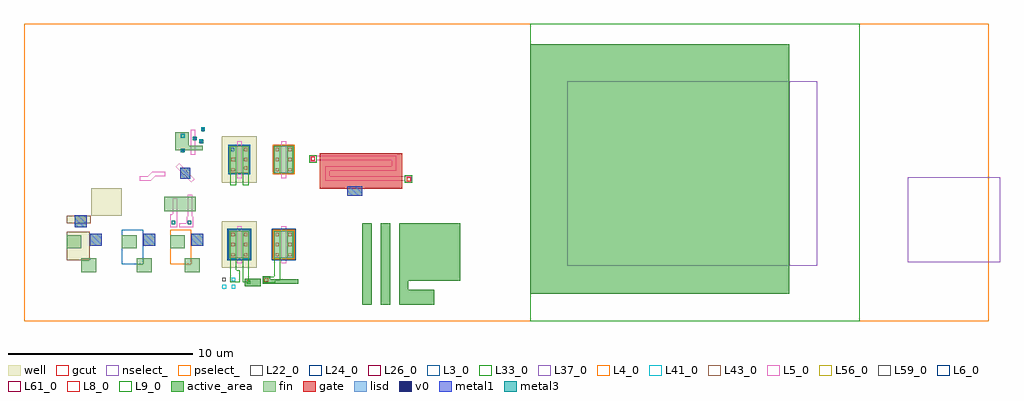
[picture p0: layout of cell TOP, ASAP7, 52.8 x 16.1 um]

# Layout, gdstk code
import gdstk
lib = gdstk.Library(unit=1e-6, precision=1e-09)
def R(c, l, rs):  # rectangles x0, y0, x1, y1
    for r in rs: c.add(gdstk.rectangle(r[:2], r[2:], *l))
def A(c, l, x, y, w, h, nx, ny, dx, dy):  # array of equal rectangles
    R(c, l, [(x+i*dx, y+j*dy, x+i*dx+w, y+j*dy+h) for i in range(nx) for j in range(ny)])
def P(c, l, *ps):  # polygons
    for p in ps: c.add(gdstk.Polygon(p, *l))
well = (1, 0)
fin = (2, 0)
L3_0 = (3, 0)
L4_0 = (4, 0)
L5_0 = (5, 0)
L6_0 = (6, 0)
gate = (7, 0)
L8_0 = (8, 0)
L9_0 = (9, 0)
gcut = (10, 0)
active_area = (11, 0)
nselect_ = (12, 0)
pselect_ = (13, 0)
L15_0 = (15, 0)
lig = (16, 0)
lisd = (17, 0)
v0 = (18, 0)
metal1 = (19, 0)
metal2 = (20, 0)
via1 = (21, 0)
L22_0 = (22, 0)
L23_0 = (23, 0)
L24_0 = (24, 0)
via2 = (25, 0)
L26_0 = (26, 0)
L27_0 = (27, 0)
L28_0 = (28, 0)
L29_0 = (29, 0)
metal3 = (30, 0)
L31_0 = (31, 0)
L32_0 = (32, 0)
L33_0 = (33, 0)
L34_0 = (34, 0)
L36_0 = (36, 0)
L37_0 = (37, 0)
L38_0 = (38, 0)
L39_0 = (39, 0)
metal4 = (40, 0)
L41_0 = (41, 0)
L42_0 = (42, 0)
L43_0 = (43, 0)
L44_0 = (44, 0)
L45_0 = (45, 0)
L46_0 = (46, 0)
L47_0 = (47, 0)
L48_0 = (48, 0)
L49_0 = (49, 0)
L50_0 = (50, 0)
L51_0 = (51, 0)
L52_0 = (52, 0)
L53_0 = (53, 0)
L54_0 = (54, 0)
L55_0 = (55, 0)
L56_0 = (56, 0)
L57_0 = (57, 0)
L58_0 = (58, 0)
L59_0 = (59, 0)
L60_0 = (60, 0)
L61_0 = (61, 0)

top = lib.new_cell('TOP')
R(top, well, [(0.305,-4.6,2.195,-2.1), (-8.1,-4.2,-6.85,-2.65), (-8.1,-2.2,-6.8,-1.8), (-6.75,-1.8,-5.1,-0.3), (0.305,0,2.195,2.5)])
R(top, fin, [(-7.3,-4.85,-6.5,-4.1), (-4.3,-4.85,-3.5,-4.1), (-1.7,-4.85,-0.9,-4.1), (0.705,-4.1,1.795,-2.6), (0.705,-4.1,1.795,-2.6), (3.105,-4.1,4.195,-2.6), (-8.1,-3.55,-7.3,-2.85), (-5.1,-3.55,-4.3,-2.85), (-2.5,-3.55,-1.7,-2.85), (-6.85,-3.4,-6.2,-2.75), (-3.95,-3.4,-3.3,-2.75), (-1.35,-3.4,-0.7,-2.75), (-7.65,-2.4,-7,-1.75), (-2.8,-1.55,-1.1,-0.75), (7.1,-0.7,7.9,-0.2), (-1.95,0.2,-1.4,0.8), (0.705,0.5,1.795,2), (3.105,0.5,4.195,2)])
P(top, fin, [(-2.23,1.75),(-2.23,2.72),(-1.48,2.72),(-1.48,2),(-0.72,2),(-0.72,1.75)])
R(top, L3_0, [(-5.1,-4.4,-3.95,-2.55), (0.65,-4.15,1.85,-2.55), (0.65,-4.15,1.85,-2.55), (0.65,0.45,1.85,2.05)])
R(top, L4_0, [(-2.5,-4.4,-1.35,-2.55), (3.05,-4.15,4.25,-2.55), (3.05,0.45,4.25,2.05)])
R(top, L5_0, [(1.125,-4.35,1.375,-2.35), (1.125,-4.35,1.375,-2.35), (3.525,-4.35,3.775,-2.35), (-2.5,-2.4,-2.1,-1.72), (-2,-2.4,-1.55,-2.2), (-1.59,-2.4,-1.24,-1.85), (-2.35,-1.85,-2.1,-0.85), (-1.55,-1.85,-1.3,-0.65), (10.25,0.03,10.57,0.35), (1.125,0.25,1.375,2.25), (3.525,0.25,3.775,2.25), (5.08,1.13,5.4,1.45), (-1.39,1.5,-1.14,2.86)])
P(top, L5_0, [(-4.15,0.1),(-4.15,0.35),(-3.7,0.35),(-3.45,0.6),(-2.75,0.6),(-2.75,0.35),(-3.3,0.35),(-3.55,0.1)],
  [(-1.339,0.017),(-2.188,0.866),(-2.011,1.043),(-1.162,0.194)])
R(top, L6_0, [(0.6,-4.2,1.9,-2.5), (3,-4.2,4.3,-2.5)])
R(top, gate, [(5.6,-0.34,10.05,1.6)])
A(top, L8_0, 3.215, -3.99, 0.18, 0.18, 1, 3, 0, 0.55)
A(top, L8_0, 3.905, -3.99, 0.18, 0.18, 1, 3, 0, 0.55)
A(top, L8_0, 3.215, 0.61, 0.18, 0.18, 1, 3, 0, 0.55)
A(top, L8_0, 3.905, 0.61, 0.18, 0.18, 1, 3, 0, 0.55)
R(top, L8_0, [(0.815,-3.99,0.995,-3.81), (0.815,-3.99,0.995,-3.81), (1.505,-3.99,1.685,-3.81), (1.505,-3.99,1.685,-3.81), (0.815,-3.44,0.995,-3.26), (0.815,-3.44,0.995,-3.26), (1.505,-3.44,1.685,-3.26), (1.505,-3.44,1.685,-3.26), (0.815,-2.89,0.995,-2.71), (0.815,-2.89,0.995,-2.71), (1.505,-2.89,1.685,-2.71), (1.505,-2.89,1.685,-2.71), (-2.41,-2.26,-2.21,-2.06), (-1.54,-2.26,-1.34,-2.06), (10.31,0.09,10.51,0.29), (0.815,0.61,0.995,0.79), (1.505,0.71,1.685,0.89), (0.815,1.16,1.015,1.34), (1.505,1.16,1.685,1.34), (5.14,1.19,5.34,1.39), (-1.91,1.64,-1.71,1.84), (0.815,1.71,0.975,1.89), (1.505,1.71,1.685,1.89), (-0.91,2.14,-0.71,2.34), (-1.26,2.29,-1.06,2.49), (-1.91,2.44,-1.71,2.64), (-0.81,2.79,-0.61,2.99)])
R(top, L9_0, [(17,-7.5,34.8,8.6), (2.55,-5.41,3.19,-5.1), (0.76,-5.38,1.26,-4.73), (1.44,-5.38,1.75,-2.63), (3.15,-5.29,3.47,-2.63), (0.76,-4.75,1.07,-2.63), (3.83,-4.09,4.15,-2.63), (0.76,-0.14,1.07,1.98), (1.44,-0.14,1.75,1.98), (10.21,-0.01,10.61,0.39), (3.15,0.52,3.47,1.98), (3.83,0.52,4.15,1.98), (5.04,1.09,5.44,1.49)])
R(top, gcut, [(0.33,-5.73,0.55,-5.53), (0.83,-5.73,1.03,-5.53), (1.65,-5.47,1.85,-5.27), (2.61,-5.36,2.81,-5.16), (0.33,-5.34,0.51,-5.14), (0.83,-5.34,1.03,-5.14)])
R(top, active_area, [(7.9,-6.6,8.4,-2.2), (8.9,-6.6,9.4,-2.2), (9.9,-6.6,10.4,-4.9), (10.2,-6.6,11.8,-5.8), (17,-6,31,7.5), (1.55,-5.6,2.4,-5.2), (2.51,-5.46,2.91,-5.06), (2.91,-5.46,4.44,-5.22), (9.9,-5.3,13.2,-2.2)])
R(top, nselect_, [(19,-4.5,32.5,5.5), (37.4,-4.3,42.4,0.3)])
R(top, pselect_, [(-10.4,-7.5,41.8,8.6)])
R(top, lisd, [(0.815,1.71,0.975,1.89)])
R(top, v0, [(-1.91,1.64,-1.71,1.84), (-0.91,2.14,-0.71,2.34), (-1.26,2.29,-1.06,2.49), (-0.81,2.79,-0.61,2.99)])
R(top, metal1, [(-6.85,-3.4,-6.2,-2.75), (-3.95,-3.4,-3.3,-2.75), (-1.35,-3.4,-0.7,-2.75), (-7.65,-2.4,-7,-1.75), (7.1,-0.7,7.9,-0.2), (-1.95,0.2,-1.4,0.8)])
P(top, L22_0, [(-1.7,-4.85),(-1.7,-4.4),(-1.35,-4.4),(-1.35,-4.1),(-0.9,-4.1),(-0.9,-4.85)])
R(top, L24_0, [(-7.65,-2.4,-7,-2.2), (-7.65,-1.8,-7,-1.75)])
P(top, L24_0, [(-7.3,-4.85),(-7.3,-4.2),(-6.85,-4.2),(-6.85,-4.1),(-6.5,-4.1),(-6.5,-4.85)])
P(top, L26_0, [(-4.3,-4.85),(-4.3,-4.4),(-3.95,-4.4),(-3.95,-4.1),(-3.5,-4.1),(-3.5,-4.85)])
R(top, metal3, [(-2.41,-2.26,-2.21,-2.06), (-1.54,-2.26,-1.34,-2.06), (-1.91,1.64,-1.71,1.84), (-0.91,2.14,-0.71,2.34), (-1.26,2.29,-1.06,2.49), (-1.91,2.44,-1.71,2.64), (-0.81,2.79,-0.61,2.99)])
R(top, L33_0, [(0.33,-5.73,0.55,-5.53), (0.83,-5.73,1.03,-5.53), (0.33,-5.34,0.51,-5.14)])
P(top, L33_0, [(1.65,-5.47),(1.65,-5.38),(1.75,-5.38),(1.75,-5.27),(1.85,-5.27),(1.85,-5.47)])
R(top, L37_0, [(31,-4.5,32.5,5.5), (37.4,-4.3,42.4,0.3)])
R(top, L41_0, [(0.33,-5.73,0.55,-5.53), (0.83,-5.73,1.03,-5.53), (0.33,-5.34,0.51,-5.14), (0.83,-5.34,1.03,-5.14)])
R(top, L43_0, [(-8.1,-4.2,-6.85,-2.65), (-8.1,-2.2,-6.8,-1.8)])
R(top, L56_0, [(7.1,-0.34,7.9,-0.2)])
R(top, L59_0, [(0.33,-5.34,0.51,-5.14)])
R(top, L61_0, [(-2.351,-0.851,-2.349,-0.849), (-2.101,-0.851,-2.099,-0.849)])
P(top, L61_0, [(-1.522,0.2),(-1.95,0.628),(-1.95,0.8),(-1.768,0.8),(-1.4,0.432),(-1.4,0.2)])
top.add(gdstk.FlexPath([(5.4,1.325),(9.625,1.325),(9.625,0.775),(6.025,0.775),(6.025,0.225),(10.25,0.225)], 0.25, ends="flush", simple_path=True, layer=5, datatype=0))  # L5_0
top.add(gdstk.FlexPath([(1.505,0.89),(1.685,0.89)], 0, ends="flush", simple_path=True, layer=15, datatype=0))  # L15_0
top.add(gdstk.FlexPath([(1.685,1.16),(1.505,1.16)], 0, ends="flush", simple_path=True, layer=15, datatype=0))  # L15_0
top.add(gdstk.FlexPath([(-1.06,2.49),(-1.06,2.29)], 0, ends="flush", simple_path=True, layer=15, datatype=0))  # L15_0
top.add(gdstk.FlexPath([(-0.91,2.14),(-0.91,2.34)], 0, ends="flush", simple_path=True, layer=15, datatype=0))  # L15_0
top.add(gdstk.FlexPath([(-0.81,2.79),(-0.81,2.85)], 0, ends="flush", simple_path=True, layer=15, datatype=0))  # L15_0
top.add(gdstk.FlexPath([(-1.06,2.49),(-1.06,2.43)], 0, ends="flush", simple_path=True, layer=15, datatype=0))  # L15_0
top.add(gdstk.FlexPath([(-0.7,2.79),(-0.81,2.79)], 0, ends="flush", simple_path=True, layer=15, datatype=0))  # L15_0
top.add(gdstk.FlexPath([(-1.17,2.49),(-1.06,2.49)], 0, ends="flush", simple_path=True, layer=15, datatype=0))  # L15_0
top.add(gdstk.FlexPath([(0.815,1.71),(0.815,1.89)], 0, ends="flush", simple_path=True, layer=16, datatype=0))  # lig
top.add(gdstk.FlexPath([(0.975,1.89),(0.975,1.71)], 0, ends="flush", simple_path=True, layer=16, datatype=0))  # lig
top.add(gdstk.FlexPath([(-2.02,2.72),(-1.6,2.72)], 0, ends="flush", simple_path=True, layer=20, datatype=0))  # metal2
top.add(gdstk.FlexPath([(-1.91,2.64),(-1.71,2.64)], 0, ends="flush", simple_path=True, layer=20, datatype=0))  # metal2
top.add(gdstk.FlexPath([(1.795,-4.1),(0.705,-4.1)], 0, ends="flush", simple_path=True, layer=21, datatype=0))  # via1
top.add(gdstk.FlexPath([(1.375,-4.1),(1.125,-4.1)], 0, ends="flush", simple_path=True, layer=21, datatype=0))  # via1
top.add(gdstk.FlexPath([(-2.77,-0.75),(-1.68,-0.75)], 0, ends="flush", simple_path=True, layer=21, datatype=0))  # via1
top.add(gdstk.FlexPath([(-2.35,-0.85),(-2.1,-0.85)], 0, ends="flush", simple_path=True, layer=21, datatype=0))  # via1
top.add(gdstk.FlexPath([(-1.68,-1.55),(-2.77,-1.55)], 0, ends="flush", simple_path=True, layer=21, datatype=0))  # via1
top.add(gdstk.FlexPath([(-2.1,-1.55),(-2.35,-1.55)], 0, ends="flush", simple_path=True, layer=21, datatype=0))  # via1
top.add(gdstk.FlexPath([(-1.97,-0.75),(-1.1,-0.75)], 0, ends="flush", simple_path=True, layer=21, datatype=0))  # via1
top.add(gdstk.FlexPath([(-1.55,-0.75),(-1.3,-0.75)], 0, ends="flush", simple_path=True, layer=21, datatype=0))  # via1
top.add(gdstk.FlexPath([(-1.1,-0.75),(-1.1,-1.55)], 0, ends="flush", simple_path=True, layer=21, datatype=0))  # via1
top.add(gdstk.FlexPath([(-1.3,-0.75),(-1.3,-1.55)], 0, ends="flush", simple_path=True, layer=21, datatype=0))  # via1
top.add(gdstk.FlexPath([(-1.1,-1.55),(-1.97,-1.55)], 0, ends="flush", simple_path=True, layer=21, datatype=0))  # via1
top.add(gdstk.FlexPath([(-1.3,-1.55),(-1.55,-1.55)], 0, ends="flush", simple_path=True, layer=21, datatype=0))  # via1
top.add(gdstk.FlexPath([(-1.95,0.2),(-1.95,0.628)], 0, ends="flush", simple_path=True, layer=21, datatype=0))  # via1
top.add(gdstk.FlexPath([(-1.53,0.208),(-1.95,0.628)], 0, ends="flush", simple_path=True, layer=21, datatype=0))  # via1
top.add(gdstk.FlexPath([(-1.95,0.208),(-1.95,0.8)], 0, ends="flush", simple_path=True, layer=21, datatype=0))  # via1
top.add(gdstk.FlexPath([(-1.95,0.628),(-1.95,0.8)], 0, ends="flush", simple_path=True, layer=21, datatype=0))  # via1
top.add(gdstk.FlexPath([(-1.4,0.2),(-1.942,0.2)], 0, ends="flush", simple_path=True, layer=21, datatype=0))  # via1
top.add(gdstk.FlexPath([(-1.4,0.2),(-1.522,0.2)], 0, ends="flush", simple_path=True, layer=21, datatype=0))  # via1
top.add(gdstk.FlexPath([(-1.768,0.8),(-1.4,0.8)], 0, ends="flush", simple_path=True, layer=21, datatype=0))  # via1
top.add(gdstk.FlexPath([(-1.768,0.8),(-1.4,0.432)], 0, ends="flush", simple_path=True, layer=21, datatype=0))  # via1
top.add(gdstk.FlexPath([(-1.4,0.8),(-1.4,0.2)], 0, ends="flush", simple_path=True, layer=21, datatype=0))  # via1
top.add(gdstk.FlexPath([(-1.4,0.432),(-1.4,0.2)], 0, ends="flush", simple_path=True, layer=21, datatype=0))  # via1
top.add(gdstk.FlexPath([(-1.522,0.2),(-1.95,0.2)], 0, ends="flush", simple_path=True, layer=21, datatype=0))  # via1
top.add(gdstk.FlexPath([(-1.522,0.2),(-1.942,0.62)], 0, ends="flush", simple_path=True, layer=21, datatype=0))  # via1
top.add(gdstk.FlexPath([(-0.72,1.75),(-1.81,1.75)], 0, ends="flush", simple_path=True, layer=21, datatype=0))  # via1
top.add(gdstk.FlexPath([(-1.14,1.75),(-1.39,1.75)], 0, ends="flush", simple_path=True, layer=21, datatype=0))  # via1
top.add(gdstk.FlexPath([(3.105,-2.6),(4.195,-2.6)], 0, ends="flush", simple_path=True, layer=21, datatype=0))  # via1
top.add(gdstk.FlexPath([(3.525,-2.6),(3.775,-2.6)], 0, ends="flush", simple_path=True, layer=21, datatype=0))  # via1
top.add(gdstk.FlexPath([(4.195,-4.1),(3.105,-4.1)], 0, ends="flush", simple_path=True, layer=21, datatype=0))  # via1
top.add(gdstk.FlexPath([(3.775,-4.1),(3.525,-4.1)], 0, ends="flush", simple_path=True, layer=21, datatype=0))  # via1
top.add(gdstk.FlexPath([(-1.48,2),(-0.72,2)], 0, ends="flush", simple_path=True, layer=21, datatype=0))  # via1
top.add(gdstk.FlexPath([(-1.39,2),(-1.14,2)], 0, ends="flush", simple_path=True, layer=21, datatype=0))  # via1
top.add(gdstk.FlexPath([(4.195,0.5),(3.105,0.5)], 0, ends="flush", simple_path=True, layer=21, datatype=0))  # via1
top.add(gdstk.FlexPath([(3.775,0.5),(3.525,0.5)], 0, ends="flush", simple_path=True, layer=21, datatype=0))  # via1
top.add(gdstk.FlexPath([(0.705,2),(1.795,2)], 0, ends="flush", simple_path=True, layer=21, datatype=0))  # via1
top.add(gdstk.FlexPath([(1.125,2),(1.375,2)], 0, ends="flush", simple_path=True, layer=21, datatype=0))  # via1
top.add(gdstk.FlexPath([(-1.95,0.8),(-1.4,0.8)], 0, ends="flush", simple_path=True, layer=21, datatype=0))  # via1
top.add(gdstk.FlexPath([(-1.95,0.8),(-1.768,0.8)], 0, ends="flush", simple_path=True, layer=21, datatype=0))  # via1
top.add(gdstk.FlexPath([(-1.4,0.8),(-1.4,0.432)], 0, ends="flush", simple_path=True, layer=21, datatype=0))  # via1
top.add(gdstk.FlexPath([(-1.768,0.8),(-1.4,0.432)], 0, ends="flush", simple_path=True, layer=21, datatype=0))  # via1
top.add(gdstk.FlexPath([(3.105,2),(4.195,2)], 0, ends="flush", simple_path=True, layer=21, datatype=0))  # via1
top.add(gdstk.FlexPath([(3.525,2),(3.775,2)], 0, ends="flush", simple_path=True, layer=21, datatype=0))  # via1
top.add(gdstk.FlexPath([(0.705,-2.6),(1.795,-2.6)], 0, ends="flush", simple_path=True, layer=21, datatype=0))  # via1
top.add(gdstk.FlexPath([(1.125,-2.6),(1.375,-2.6)], 0, ends="flush", simple_path=True, layer=21, datatype=0))  # via1
top.add(gdstk.FlexPath([(1.795,0.5),(0.705,0.5)], 0, ends="flush", simple_path=True, layer=21, datatype=0))  # via1
top.add(gdstk.FlexPath([(1.375,0.5),(1.125,0.5)], 0, ends="flush", simple_path=True, layer=21, datatype=0))  # via1
top.add(gdstk.FlexPath([(-6.85,-3.4),(-6.85,-2.75)], 0, ends="flush", simple_path=True, layer=23, datatype=0))  # L23_0
top.add(gdstk.FlexPath([(-6.85,-2.65),(-6.85,-3.7)], 0, ends="flush", simple_path=True, layer=23, datatype=0))  # L23_0
top.add(gdstk.FlexPath([(-7,-1.75),(-7,-2.1)], 0, ends="flush", simple_path=True, layer=23, datatype=0))  # L23_0
top.add(gdstk.FlexPath([(-6.75,-1.8),(-6.75,-1.45)], 0, ends="flush", simple_path=True, layer=23, datatype=0))  # L23_0
top.add(gdstk.FlexPath([(-7,-2.4),(-7.65,-2.4)], 0, ends="flush", simple_path=True, layer=23, datatype=0))  # L23_0
top.add(gdstk.FlexPath([(-7.95,-2.65),(-6.85,-2.65)], 0, ends="flush", simple_path=True, layer=23, datatype=0))  # L23_0
top.add(gdstk.FlexPath([(-1.48,2.72),(-1.48,2)], 0, ends="flush", simple_path=True, layer=25, datatype=0))  # via2
top.add(gdstk.FlexPath([(-1.39,1.9),(-1.39,2.82)], 0, ends="flush", simple_path=True, layer=25, datatype=0))  # via2
top.add(gdstk.FlexPath([(-6.85,-3),(-6.85,-2.75)], 0, ends="flush", simple_path=True, layer=27, datatype=0))  # L27_0
top.add(gdstk.FlexPath([(-7,-2.15),(-7,-2.4)], 0, ends="flush", simple_path=True, layer=27, datatype=0))  # L27_0
top.add(gdstk.FlexPath([(-6.85,-2.75),(-6.4,-2.75)], 0, ends="flush", simple_path=True, layer=27, datatype=0))  # L27_0
top.add(gdstk.FlexPath([(-7,-2.4),(-7.45,-2.4)], 0, ends="flush", simple_path=True, layer=27, datatype=0))  # L27_0
top.add(gdstk.FlexPath([(-1.7,-2.85),(-1.7,-3.55)], 0, ends="flush", simple_path=True, layer=27, datatype=0))  # L27_0
top.add(gdstk.FlexPath([(-1.35,-3.4),(-1.35,-2.75)], 0, ends="flush", simple_path=True, layer=27, datatype=0))  # L27_0
top.add(gdstk.FlexPath([(-4.3,-2.85),(-4.3,-3.55)], 0, ends="flush", simple_path=True, layer=27, datatype=0))  # L27_0
top.add(gdstk.FlexPath([(-3.95,-3.4),(-3.95,-2.75)], 0, ends="flush", simple_path=True, layer=27, datatype=0))  # L27_0
top.add(gdstk.FlexPath([(-7.3,-2.85),(-7.3,-3.55)], 0, ends="flush", simple_path=True, layer=27, datatype=0))  # L27_0
top.add(gdstk.FlexPath([(-6.85,-3.4),(-6.85,-2.75)], 0, ends="flush", simple_path=True, layer=27, datatype=0))  # L27_0
top.add(gdstk.FlexPath([(-8.1,-2.85),(-7.3,-2.85)], 0, ends="flush", simple_path=True, layer=27, datatype=0))  # L27_0
top.add(gdstk.FlexPath([(-7,-2.4),(-7.65,-2.4)], 0, ends="flush", simple_path=True, layer=27, datatype=0))  # L27_0
top.add(gdstk.FlexPath([(-1.7,-4.1),(-1.1,-4.1)], 0, ends="flush", simple_path=True, layer=27, datatype=0))  # L27_0
top.add(gdstk.FlexPath([(-1.7,-3.55),(-2.3,-3.55)], 0, ends="flush", simple_path=True, layer=27, datatype=0))  # L27_0
top.add(gdstk.FlexPath([(-4.3,-4.1),(-3.7,-4.1)], 0, ends="flush", simple_path=True, layer=27, datatype=0))  # L27_0
top.add(gdstk.FlexPath([(-4.3,-3.55),(-4.9,-3.55)], 0, ends="flush", simple_path=True, layer=27, datatype=0))  # L27_0
top.add(gdstk.FlexPath([(-7.3,-4.1),(-6.7,-4.1)], 0, ends="flush", simple_path=True, layer=27, datatype=0))  # L27_0
top.add(gdstk.FlexPath([(-7.3,-3.55),(-7.9,-3.55)], 0, ends="flush", simple_path=True, layer=27, datatype=0))  # L27_0
top.add(gdstk.FlexPath([(-1.48,2),(-0.72,2)], 0, ends="flush", simple_path=True, layer=28, datatype=0))  # L28_0
top.add(gdstk.FlexPath([(-0.72,1.75),(-1.98,1.75)], 0, ends="flush", simple_path=True, layer=28, datatype=0))  # L28_0
top.add(gdstk.FlexPath([(0.76,-3.5),(0.76,-3.2)], 0, ends="flush", simple_path=True, layer=29, datatype=0))  # L29_0
top.add(gdstk.FlexPath([(0.815,-3.44),(0.815,-3.26)], 0, ends="flush", simple_path=True, layer=29, datatype=0))  # L29_0
top.add(gdstk.FlexPath([(0.76,1.65),(0.76,1.95)], 0, ends="flush", simple_path=True, layer=29, datatype=0))  # L29_0
top.add(gdstk.FlexPath([(0.815,1.71),(0.815,1.89)], 0, ends="flush", simple_path=True, layer=29, datatype=0))  # L29_0
top.add(gdstk.FlexPath([(0.76,1.1),(0.76,1.4)], 0, ends="flush", simple_path=True, layer=29, datatype=0))  # L29_0
top.add(gdstk.FlexPath([(0.815,1.16),(0.815,1.34)], 0, ends="flush", simple_path=True, layer=29, datatype=0))  # L29_0
top.add(gdstk.FlexPath([(0.76,-2.95),(0.76,-2.65)], 0, ends="flush", simple_path=True, layer=29, datatype=0))  # L29_0
top.add(gdstk.FlexPath([(0.815,-2.89),(0.815,-2.71)], 0, ends="flush", simple_path=True, layer=29, datatype=0))  # L29_0
top.add(gdstk.FlexPath([(0.76,-4.05),(0.76,-3.75)], 0, ends="flush", simple_path=True, layer=29, datatype=0))  # L29_0
top.add(gdstk.FlexPath([(0.815,-3.99),(0.815,-3.81)], 0, ends="flush", simple_path=True, layer=29, datatype=0))  # L29_0
top.add(gdstk.FlexPath([(0.76,0.55),(0.76,0.85)], 0, ends="flush", simple_path=True, layer=29, datatype=0))  # L29_0
top.add(gdstk.FlexPath([(0.815,0.61),(0.815,0.79)], 0, ends="flush", simple_path=True, layer=29, datatype=0))  # L29_0
top.add(gdstk.FlexPath([(1.07,1.4),(1.07,1.1)], 0, ends="flush", simple_path=True, layer=29, datatype=0))  # L29_0
top.add(gdstk.FlexPath([(1.015,1.34),(1.015,1.16)], 0, ends="flush", simple_path=True, layer=29, datatype=0))  # L29_0
top.add(gdstk.FlexPath([(1.44,-5.38),(1.44,-4.43)], 0, ends="flush", simple_path=True, layer=31, datatype=0))  # L31_0
top.add(gdstk.FlexPath([(1.26,-4.73),(1.26,-5.38)], 0, ends="flush", simple_path=True, layer=31, datatype=0))  # L31_0
top.add(gdstk.FlexPath([(1.08,-5.38),(0.78,-5.38)], 0, ends="flush", simple_path=True, layer=32, datatype=0))  # L32_0
top.add(gdstk.FlexPath([(1.03,-5.34),(0.83,-5.34)], 0, ends="flush", simple_path=True, layer=32, datatype=0))  # L32_0
top.add(gdstk.FlexPath([(2.89,-5.1),(3.15,-5.1)], 0, ends="flush", simple_path=True, layer=34, datatype=0))  # L34_0
top.add(gdstk.FlexPath([(3.45,-5.29),(3.19,-5.29)], 0, ends="flush", simple_path=True, layer=34, datatype=0))  # L34_0
top.add(gdstk.FlexPath([(3.15,-5.1),(3.15,-4.99)], 0, ends="flush", simple_path=True, layer=34, datatype=0))  # L34_0
top.add(gdstk.FlexPath([(3.19,-5.29),(3.19,-5.4)], 0, ends="flush", simple_path=True, layer=34, datatype=0))  # L34_0
top.add(gdstk.FlexPath([(31,-6),(17,-6)], 0, ends="flush", simple_path=True, layer=36, datatype=0))  # L36_0
top.add(gdstk.FlexPath([(32.5,-4.5),(19,-4.5)], 0, ends="flush", simple_path=True, layer=36, datatype=0))  # L36_0
top.add(gdstk.FlexPath([(2.51,-5.46),(2.51,-5.06)], 0, ends="flush", simple_path=True, layer=38, datatype=0))  # L38_0
top.add(gdstk.FlexPath([(2.4,-5.2),(2.4,-5.6)], 0, ends="flush", simple_path=True, layer=38, datatype=0))  # L38_0
top.add(gdstk.FlexPath([(10.4,-5.8),(11.8,-5.8)], 0, ends="flush", simple_path=True, layer=39, datatype=0))  # L39_0
top.add(gdstk.FlexPath([(12.5,-5.3),(10.4,-5.3)], 0, ends="flush", simple_path=True, layer=39, datatype=0))  # L39_0
top.add(gdstk.FlexPath([(1.55,-5.2),(1.95,-5.2)], 0, ends="flush", simple_path=True, layer=40, datatype=0))  # metal4
top.add(gdstk.FlexPath([(1.65,-5.27),(1.85,-5.27)], 0, ends="flush", simple_path=True, layer=40, datatype=0))  # metal4
top.add(gdstk.FlexPath([(2.91,-5.22),(4.44,-5.22)], 0, ends="flush", simple_path=True, layer=42, datatype=0))  # L42_0
top.add(gdstk.FlexPath([(4.44,-5.46),(2.51,-5.46)], 0, ends="flush", simple_path=True, layer=42, datatype=0))  # L42_0
top.add(gdstk.FlexPath([(-8.1,-3.95),(-8.1,-2.65)], 0, ends="flush", simple_path=True, layer=44, datatype=0))  # L44_0
top.add(gdstk.FlexPath([(-8.1,-3.55),(-8.1,-2.85)], 0, ends="flush", simple_path=True, layer=44, datatype=0))  # L44_0
top.add(gdstk.FlexPath([(-8.1,-2.65),(-6.9,-2.65)], 0, ends="flush", simple_path=True, layer=44, datatype=0))  # L44_0
top.add(gdstk.FlexPath([(-8.1,-2.85),(-7.3,-2.85)], 0, ends="flush", simple_path=True, layer=44, datatype=0))  # L44_0
top.add(gdstk.FlexPath([(-6.8,-1.8),(-6.8,-2.2)], 0, ends="flush", simple_path=True, layer=44, datatype=0))  # L44_0
top.add(gdstk.FlexPath([(-7,-1.75),(-7,-2.4)], 0, ends="flush", simple_path=True, layer=44, datatype=0))  # L44_0
top.add(gdstk.FlexPath([(-6.8,-2.2),(-8.1,-2.2)], 0, ends="flush", simple_path=True, layer=45, datatype=0))  # L45_0
top.add(gdstk.FlexPath([(-8.1,-2.65),(-6.85,-2.65)], 0, ends="flush", simple_path=True, layer=45, datatype=0))  # L45_0
top.add(gdstk.FlexPath([(-6.75,-1.8),(-6.75,-1.65)], 0, ends="flush", simple_path=True, layer=45, datatype=0))  # L45_0
top.add(gdstk.FlexPath([(-6.85,-2.65),(-6.85,-2.8)], 0, ends="flush", simple_path=True, layer=45, datatype=0))  # L45_0
top.add(gdstk.FlexPath([(-6.75,-1.8),(-6.75,-0.8)], 0, ends="flush", simple_path=True, layer=45, datatype=0))  # L45_0
top.add(gdstk.FlexPath([(-6.8,-1.8),(-6.8,-2.2)], 0, ends="flush", simple_path=True, layer=45, datatype=0))  # L45_0
top.add(gdstk.FlexPath([(-5.85,-1.8),(-6.75,-1.8)], 0, ends="flush", simple_path=True, layer=45, datatype=0))  # L45_0
top.add(gdstk.FlexPath([(-7.75,-2.65),(-6.85,-2.65)], 0, ends="flush", simple_path=True, layer=45, datatype=0))  # L45_0
top.add(gdstk.FlexPath([(-8.1,-1.8),(-6.8,-1.8)], 0, ends="flush", simple_path=True, layer=46, datatype=0))  # L46_0
top.add(gdstk.FlexPath([(-6.8,-2.2),(-8.1,-2.2)], 0, ends="flush", simple_path=True, layer=46, datatype=0))  # L46_0
top.add(gdstk.FlexPath([(32.5,5.5),(32.5,-4.5)], 0, ends="flush", simple_path=True, layer=47, datatype=0))  # L47_0
top.add(gdstk.FlexPath([(37.4,-4.3),(37.4,0.3)], 0, ends="flush", simple_path=True, layer=47, datatype=0))  # L47_0
top.add(gdstk.FlexPath([(37.4,-4.3),(37.4,0.3)], 0, ends="flush", simple_path=True, layer=48, datatype=0))  # L48_0
top.add(gdstk.FlexPath([(42.4,0.3),(42.4,-4.3)], 0, ends="flush", simple_path=True, layer=48, datatype=0))  # L48_0
top.add(gdstk.FlexPath([(37.4,0.3),(42.4,0.3)], 0, ends="flush", simple_path=True, layer=48, datatype=0))  # L48_0
top.add(gdstk.FlexPath([(42.4,-4.3),(37.4,-4.3)], 0, ends="flush", simple_path=True, layer=48, datatype=0))  # L48_0
top.add(gdstk.FlexPath([(-1.59,-2.2),(-1.59,-2)], 0, ends="flush", simple_path=True, layer=49, datatype=0))  # L49_0
top.add(gdstk.FlexPath([(-1.54,-2.26),(-1.54,-2.06)], 0, ends="flush", simple_path=True, layer=49, datatype=0))  # L49_0
top.add(gdstk.FlexPath([(1.125,1.03),(1.125,1.47)], 0, ends="flush", simple_path=True, layer=50, datatype=0))  # L50_0
top.add(gdstk.FlexPath([(1.015,1.34),(1.015,1.16)], 0, ends="flush", simple_path=True, layer=50, datatype=0))  # L50_0
top.add(gdstk.FlexPath([(-2,-2.4),(-2,-2.2)], 0, ends="flush", simple_path=True, layer=51, datatype=0))  # L51_0
top.add(gdstk.FlexPath([(-2.1,-1.9),(-2.1,-2.4)], 0, ends="flush", simple_path=True, layer=51, datatype=0))  # L51_0
top.add(gdstk.FlexPath([(-2,-2.2),(-1.59,-2.2)], 0, ends="flush", simple_path=True, layer=52, datatype=0))  # L52_0
top.add(gdstk.FlexPath([(-1.34,-2.4),(-2,-2.4)], 0, ends="flush", simple_path=True, layer=52, datatype=0))  # L52_0
top.add(gdstk.FlexPath([(-1.3,-1.85),(-1.24,-1.85)], 0, ends="flush", simple_path=True, layer=53, datatype=0))  # L53_0
top.add(gdstk.FlexPath([(-1.59,-1.85),(-1.55,-1.85)], 0, ends="flush", simple_path=True, layer=53, datatype=0))  # L53_0
top.add(gdstk.FlexPath([(-2.5,-1.72),(-2.1,-1.72)], 0, ends="flush", simple_path=True, layer=54, datatype=0))  # L54_0
top.add(gdstk.FlexPath([(5.6,1.6),(10.05,1.6)], 0, ends="flush", simple_path=True, layer=55, datatype=0))  # L55_0
top.add(gdstk.FlexPath([(5.3,1.45),(9.75,1.45)], 0, ends="flush", simple_path=True, layer=55, datatype=0))  # L55_0
top.add(gdstk.FlexPath([(0.51,-5.34),(0.33,-5.34)], 0, ends="flush", simple_path=True, layer=57, datatype=0))  # L57_0
top.add(gdstk.FlexPath([(0.33,-5.53),(0.55,-5.53)], 0, ends="flush", simple_path=True, layer=57, datatype=0))  # L57_0
top.add(gdstk.FlexPath([(1.03,-5.34),(0.83,-5.34)], 0, ends="flush", simple_path=True, layer=57, datatype=0))  # L57_0
top.add(gdstk.FlexPath([(0.83,-5.53),(1.03,-5.53)], 0, ends="flush", simple_path=True, layer=57, datatype=0))  # L57_0
top.add(gdstk.FlexPath([(0.33,-5.34),(0.33,-5.14)], 0, ends="flush", simple_path=True, layer=58, datatype=0))  # L58_0
top.add(gdstk.FlexPath([(0.51,-5.14),(0.51,-5.34)], 0, ends="flush", simple_path=True, layer=58, datatype=0))  # L58_0
top.add(gdstk.FlexPath([(-3.7,0.35),(-3.45,0.6)], 0, ends="flush", simple_path=True, layer=60, datatype=0))  # L60_0
top.add(gdstk.FlexPath([(-3.3,0.35),(-3.55,0.1)], 0, ends="flush", simple_path=True, layer=60, datatype=0))  # L60_0
top.add(gdstk.FlexPath([(-2.188,0.866),(-2.011,1.043)], 0, ends="flush", simple_path=True, layer=60, datatype=0))  # L60_0
top.add(gdstk.FlexPath([(-1.162,0.194),(-1.339,0.017)], 0, ends="flush", simple_path=True, layer=60, datatype=0))  # L60_0
top.add(gdstk.FlexPath([(-1.339,0.017),(-2.188,0.866)], 0, ends="flush", simple_path=True, layer=60, datatype=0))  # L60_0
top.add(gdstk.FlexPath([(-2.011,1.043),(-1.162,0.194)], 0, ends="flush", simple_path=True, layer=60, datatype=0))  # L60_0

lib.write_gds('TOP.gds')
